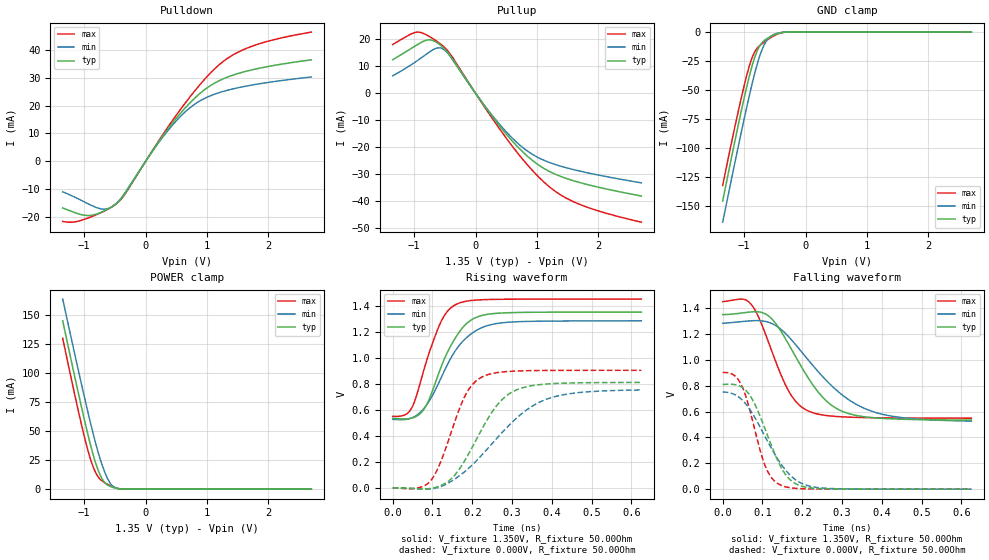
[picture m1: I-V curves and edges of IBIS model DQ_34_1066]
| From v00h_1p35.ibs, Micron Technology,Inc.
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| MODEL DQ_34_1066 (34 Ohm Data I/O with no ODT, 800/1066Mbps)
[Model]   DQ_34_1066
Model_type   I/O
Vinl = 515.000mV
Vinh = 835.000mV
Vmeas = 675.000mV
Vref = 675.000mV
Cref = 0.0pF
Rref = 25.000Ohm
|   typ   min   max
|C_comp   1.100pF   1.025pF   1.175pF
C_comp_pullup   0.5500pF   0.5125pF   0.5875pF
C_comp_pulldown   0.5500pF   0.5125pF   0.5875pF
[Model Spec]
| Input threshold voltage corners
Vinl   0.5150V   0.4815V   0.5525V
Vinh   0.8350V   0.8015V   0.8725V
| Measurement voltage corners
Vmeas   0.6750V   0.6415V   0.7125V
| Timing spec test load voltage corners
Vref   0.6750V   0.6415V   0.7125V
| Dynamic Overshoot Parameters from DDR3L Specification
|D_overshoot_ampl_h   0.40   NA   NA
|D_overshoot_ampl_l   0.40   NA   NA
|D_overshoot_area_h   0.19n   NA   NA
|D_overshoot_area_l   0.19n   NA   NA
[Receiver Thresholds]
Vth   =  0.675V
Vth_min  =  0.6615V
Vth_max  =  0.6885V
Vinh_ac  =  0.160V
Vinh_dc  =  0.090V
Vinl_ac  = -0.160V
Vinl_dc  = -0.090V
Tslew_ac =  5.000ns |Not specified, so set to high value
Threshold_sensitivity = 0.50
Reference_supply Pullup_ref
[Voltage Range]   1.3500V   1.2830V   1.4250V
[Pullup Reference]   1.3500V   1.2830V   1.4250V
| Junction Temperature (Ambient temp is 35C typ, 95C min, 0C max)
[Temperature Range]   50.0   110.0   0.0
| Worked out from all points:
|   slope of the pulldown table from 0 to 0.203 V, typ, clamps not added: 30.3 ohm
|   slope of the pullup table from 0 to 0.203 V, typ, clamps not added: 31.4 ohm
|   GND clamp passes 1 mA (typ) near -0.44 V on its own axis
|   POWER clamp passes 1 mA (typ) near -0.50 V on its own axis
|   falling waveform, V_fixture 1.350V, R_fixture 50.00Ohm: 20-80 % time 103ps typ, 145ps min, 73ps max; typ from 1.35 V to 0.534 V
|   rising waveform, V_fixture 1.350V, R_fixture 50.00Ohm: 20-80 % time 71.2ps typ, 84.2ps min, 58.5ps max; typ from 0.534 V to 1.35 V
|   rising waveform, V_fixture 0.000V, R_fixture 50.00Ohm: 20-80 % time 94.2ps typ, 147ps min, 66.6ps max; typ from 0 V to 0.809 V
|   falling waveform, V_fixture 0.000V, R_fixture 50.00Ohm: 20-80 % time 65.8ps typ, 85.8ps min, 49.1ps max; typ from 0.809 V to 0 V
[Pulldown]
|   Voltage   I(typ)   I(min)   I(max)
-1.35V    -16.69mA   -10.91mA   -21.54mA
-940mV    -19.43mA   -15.15mA   -20.32mA
-740mV    -18.4mA    -16.96mA   -18.5mA
-590mV    -16.79mA   -16.78mA   -16.81mA
-345mV    -11.83mA   -11.54mA   -12.04mA
140mV     4.676mA    4.483mA    4.848mA
460mV     14.34mA    13.54mA    15.3mA
730mV     21.1mA     19.33mA    23.28mA
1.005V    26.38mA    23mA       30.45mA
1.31V     29.98mA    25.33mA    36.52mA
1.635V    32.26mA    26.94mA    40.42mA
2.7V      36.37mA    30.24mA    46.31mA
[GND Clamp]
|   Voltage   I(typ)   I(min)   I(max)
-1.35V    -145.9mA   -164.2mA   -132.5mA
-1.21V    -109.2mA   -127.8mA   -96.32mA
-1.08V    -76.15mA   -94.69mA   -64.51mA
-980mV    -52.18mA   -70.05mA   -41.89mA
-900mV    -34.79mA   -51.26mA   -26.51mA
-820mV    -20.6mA    -33.99mA   -16.33mA
-730mV    -10.55mA   -18.13mA   -10.98mA
-655mV    -6.559mA   -9.106mA   -7.964mA
-575mV    -3.962mA   -3.912mA   -5.074mA
-470mV    -1.479mA   -1.183mA   -1.987mA
-330mV    -103.8uA   -97.16uA   -126.9uA
2.7V      0A         0A         0A
[Pullup]
|   Voltage   I(typ)   I(min)   I(max)
-1.35V    12.44mA    6.513mA    18.1mA
-935mV    18.22mA    12.34mA    22.69mA
-730mV    19.78mA    15.65mA    20.73mA
-540mV    17.22mA    16.57mA    17.71mA
-405mV    13.68mA    13.42mA    14.32mA
150mV     -4.821mA   -4.638mA   -5.175mA
485mV     -14.7mA    -13.9mA    -16.12mA
825mV     -22.88mA   -21.05mA   -25.97mA
1.145V    -28.23mA   -25.09mA   -33.51mA
1.39V     -30.8mA    -27mA      -37.68mA
1.645V    -32.7mA    -28.52mA   -40.65mA
2.7V      -38.04mA   -33.16mA   -47.73mA
[POWER Clamp]
|   Voltage   I(typ)   I(min)   I(max)
-1.35V    145mA      163.7mA    129.9mA
-1.175V   102mA      121.3mA    86.46mA
-1.05V    72.12mA    91.74mA    56.89mA
-960mV    51.56mA    71.02mA    37.44mA
-885mV    35.64mA    54.4mA     23.85mA
-795mV    19.66mA    35.93mA    12.48mA
-710mV    9.111mA    21.19mA    7.162mA
-610mV    3.316mA    8.179mA    3.921mA
-525mV    1.394mA    2.274mA    1.814mA
-445mV    434.5uA    531.8uA    556.5uA
-280mV    9.752uA    16.13uA    7.687uA
2.7V      0A         0A         0A
[Ramp]
R_load = 50.00Ohm
|   typ   min   max
dV/dt_r   485.599mV/94.171ps  451.020mV/147.003ps 541.513mV/66.539ps
dV/dt_f   489.753mV/102.449ps 454.292mV/144.547ps 540.666mV/72.979ps
[Falling Waveform]
V_fixture = 1.350V
V_fixture_min = 1.283V
V_fixture_max = 1.450V
R_fixture = 50.00Ohm
|   Time   V(typ)   V(min)   V(max)
0s        1.35V      1.283V     1.45V
51ps      1.363V     1.297V     1.469V
73ps      1.371V     1.302V     1.424V
129ps     1.297V     1.272V     1.022V
173ps     1.081V     1.154V     722.3mV
214ps     864.8mV    1.003V     606mV
280ps     635.4mV    782mV      563.4mV
364ps     556.9mV    614.6mV    553.1mV
456ps     540.3mV    551.4mV    550.1mV
625ps     533.8mV    525.9mV    548.9mV
[Rising Waveform]
V_fixture = 1.350V
V_fixture_min = 1.283V
V_fixture_max = 1.450V
R_fixture = 50.00Ohm
|   Time   V(typ)   V(min)   V(max)
0s        533.8mV    525.9mV    548.9mV
43ps      531.9mV    531.6mV    590.5mV
56ps      543.6mV    548.8mV    672.2mV
76ps      593.3mV    600.4mV    880.2mV
93ps      690.1mV    672.3mV    1.049V
122ps     930.6mV    846.8mV    1.279V
161ps     1.168V     1.069V     1.412V
201ps     1.296V     1.191V     1.44V
263ps     1.341V     1.263V     1.448V
625ps     1.35V      1.283V     1.45V
[Rising Waveform]
V_fixture = 0.000V
V_fixture_min = 0.000V
V_fixture_max = 0.000V
R_fixture = 50.00Ohm
|   Time   V(typ)   V(min)   V(max)
0s        -17.84uV   -18.67uV   -16.51uV
60ps      -7.047mV   -7.673mV   -3.425mV
96ps      -5.311mV   -9.068mV   56.06mV
118ps     13.43mV    5.851mV    179.6mV
142ps     54.77mV    39.73mV    380.3mV
181ps     208.1mV    123.8mV    700.5mV
227ps     465.9mV    261.3mV    854.6mV
289ps     714mV      469.3mV    893.3mV
382ps     796mV      674.6mV    901.3mV
625ps     809.3mV    751.7mV    902.5mV
[Falling Waveform]
V_fixture = 0.000V
V_fixture_min = 0.000V
V_fixture_max = 0.000V
R_fixture = 50.00Ohm
|   Time   V(typ)   V(min)   V(max)
0s        809.3mV    751.7mV    902.5mV
37ps      803.7mV    719.3mV    855.6mV
53ps      777.7mV    677mV      762.5mV
66ps      735.2mV    626.8mV    635.9mV
106ps     469.2mV    409.2mV    186.2mV
123ps     333.7mV    312.3mV    87.48mV
145ps     179.2mV    201.5mV    32.17mV
182ps     44.85mV    75.15mV    6.785mV
236ps     6.038mV    13.73mV    1.345mV
625ps     -17.84uV   -18.67uV   -16.51uV
